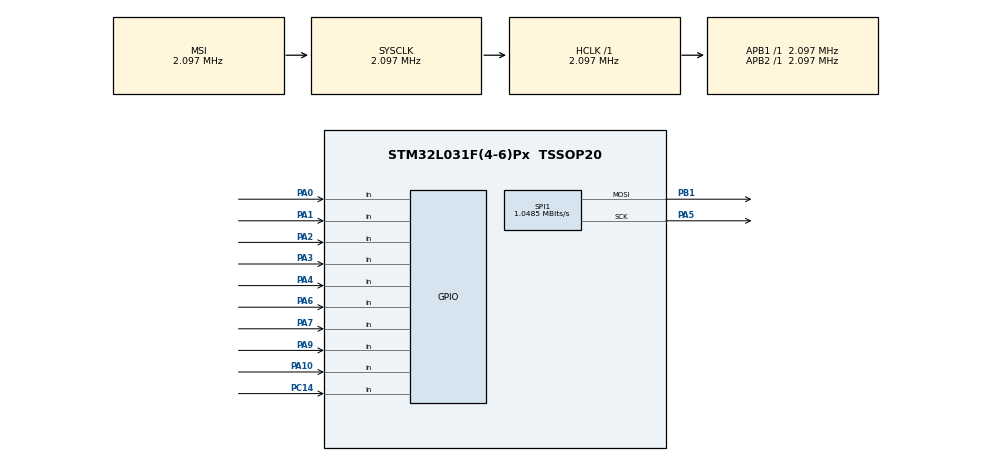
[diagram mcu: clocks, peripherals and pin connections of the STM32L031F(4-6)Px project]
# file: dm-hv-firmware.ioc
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Mcu.Family=STM32L0
Mcu.Name=STM32L031F(4-6)Px
Mcu.Package=TSSOP20
PA0-CK_IN.Signal=GPIO_Input
PA1.Signal=GPIO_Input
PA10.Signal=GPIO_Input
PA13.Mode=Serial_Wire
PA13.Signal=SYS_SWDIO
PA14.Mode=Serial_Wire
PA14.Signal=SYS_SWCLK
PA2.Signal=GPIO_Input
PA3.Signal=GPIO_Input
PA4.Signal=GPIO_Input
PA5.Mode=TX_Only_Simplex_Unidirect_Master
PA5.Signal=SPI1_SCK
PA6.Signal=GPIO_Input
PA7.Signal=GPIO_Input
PA9.Signal=GPIO_Input
PB1.Mode=TX_Only_Simplex_Unidirect_Master
PB1.Signal=SPI1_MOSI
PC14-OSC32_IN.Signal=GPIO_Input
ProjectManager.HeapSize=0x200
ProjectManager.StackSize=0x400
ProjectManager.TargetToolchain=SW4STM32
RCC.AHBFreq_Value=2097000
RCC.APB1Freq_Value=2097000
RCC.APB1TimFreq_Value=2097000
RCC.APB2Freq_Value=2097000
RCC.APB2TimFreq_Value=2097000
RCC.HSE_VALUE=8000000
RCC.HSI16_VALUE=16000000
RCC.HSI_VALUE=16000000
RCC.LSE_VALUE=32768
RCC.MSI_VALUE=2097000
RCC.SYSCLKFreq_VALUE=2097000
RCC.VCOOutputFreq_Value=48000000
SPI1.CalculateBaudRate=1.0485 MBits/s
SPI1.Direction=SPI_DIRECTION_2LINES
SPI1.Mode=SPI_MODE_MASTER
SPI1.VirtualType=VM_MASTER
board=custom

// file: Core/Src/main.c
/* USER CODE BEGIN Header */
/**
  ******************************************************************************
  * @file           : main.c
  * @brief          : Main program body
  ******************************************************************************
  * @attention
  *
  * Copyright (c) 2022 STMicroelectronics.
  * All rights reserved.
  *
  * This software is licensed under terms that can be found in the LICENSE file
  * in the root directory of this software component.
  * If no LICENSE file comes with this software, it is provided AS-IS.
  *
  ******************************************************************************
  */
/* USER CODE END Header */
#include "main.h"

/* USER CODE BEGIN Includes */
#include <malloc.h>
/* USER CODE END Includes */

SPI_HandleTypeDef hspi1;

void SystemClock_Config(void);
static void MX_GPIO_Init(void);
static void MX_SPI1_Init(void);

int main(void)
{

    /* MCU Configuration--------------------------------------------------------*/

    /* Reset of all peripherals, Initializes the Flash interface and the Systick. */
    HAL_Init();

    /* Configure the system clock */
    SystemClock_Config();

    /* Initialize all configured peripherals */
    MX_GPIO_Init();
    MX_SPI1_Init();

    /* Infinite loop */
    while (1)
    {
      /* USER CODE BEGIN 3 */
        HAL_Delay(100);

        Main_Update_MAX5481_Resistance();
    }
  /* USER CODE END 3 */
}

void SystemClock_Config(void)
{
  RCC_OscInitTypeDef RCC_OscInitStruct = {0};
  RCC_ClkInitTypeDef RCC_ClkInitStruct = {0};

  /** Configure the main internal regulator output voltage
  */
  __HAL_PWR_VOLTAGESCALING_CONFIG(PWR_REGULATOR_VOLTAGE_SCALE1);
  /** Initializes the RCC Oscillators according to the specified parameters
  * in the RCC_OscInitTypeDef structure.
  */
  RCC_OscInitStruct.OscillatorType = RCC_OSCILLATORTYPE_MSI;
  RCC_OscInitStruct.MSIState = RCC_MSI_ON;
  RCC_OscInitStruct.MSICalibrationValue = 0;
  RCC_OscInitStruct.MSIClockRange = RCC_MSIRANGE_5;
  RCC_OscInitStruct.PLL.PLLState = RCC_PLL_NONE;
  if (HAL_RCC_OscConfig(&RCC_OscInitStruct) != HAL_OK)
  {
    Error_Handler();
  }
  /** Initializes the CPU, AHB and APB buses clocks
  */
  RCC_ClkInitStruct.ClockType = RCC_CLOCKTYPE_HCLK|RCC_CLOCKTYPE_SYSCLK
                              |RCC_CLOCKTYPE_PCLK1|RCC_CLOCKTYPE_PCLK2;
  RCC_ClkInitStruct.SYSCLKSource = RCC_SYSCLKSOURCE_MSI;
  RCC_ClkInitStruct.AHBCLKDivider = RCC_SYSCLK_DIV1;
  RCC_ClkInitStruct.APB1CLKDivider = RCC_HCLK_DIV1;
  RCC_ClkInitStruct.APB2CLKDivider = RCC_HCLK_DIV1;

  if (HAL_RCC_ClockConfig(&RCC_ClkInitStruct, FLASH_LATENCY_0) != HAL_OK)
  {
    Error_Handler();
  }
}

static void MX_SPI1_Init(void)
{

  /* SPI1 parameter configuration*/
  hspi1.Instance = SPI1;
  hspi1.Init.Mode = SPI_MODE_MASTER;
  hspi1.Init.Direction = SPI_DIRECTION_2LINES;
  hspi1.Init.DataSize = SPI_DATASIZE_8BIT;
  hspi1.Init.CLKPolarity = SPI_POLARITY_LOW;
  hspi1.Init.CLKPhase = SPI_PHASE_1EDGE;
  hspi1.Init.NSS = SPI_NSS_SOFT;
  hspi1.Init.BaudRatePrescaler = SPI_BAUDRATEPRESCALER_2;
  hspi1.Init.FirstBit = SPI_FIRSTBIT_MSB;
  hspi1.Init.TIMode = SPI_TIMODE_DISABLE;
  hspi1.Init.CRCCalculation = SPI_CRCCALCULATION_DISABLE;
  hspi1.Init.CRCPolynomial = 7;
  if (HAL_SPI_Init(&hspi1) != HAL_OK)
  {
    Error_Handler();
  }

}

static void MX_GPIO_Init(void)
{
  GPIO_InitTypeDef GPIO_InitStruct = {0};

  /* GPIO Ports Clock Enable */
  __HAL_RCC_GPIOC_CLK_ENABLE();
  __HAL_RCC_GPIOA_CLK_ENABLE();
  __HAL_RCC_GPIOB_CLK_ENABLE();

  /*Configure GPIO pin : PC14 */
  GPIO_InitStruct.Pin = GPIO_PIN_14;
  GPIO_InitStruct.Mode = GPIO_MODE_INPUT;
  GPIO_InitStruct.Pull = GPIO_NOPULL;
  HAL_GPIO_Init(GPIOC, &GPIO_InitStruct);

  /*Configure GPIO pins : PA0 PA1 PA2 PA3
                           PA4 PA6 PA7 PA9
                           PA10 */
  GPIO_InitStruct.Pin = GPIO_PIN_0|GPIO_PIN_1|GPIO_PIN_2|GPIO_PIN_3
                          |GPIO_PIN_4|GPIO_PIN_6|GPIO_PIN_7|GPIO_PIN_9
                          |GPIO_PIN_10;
  GPIO_InitStruct.Mode = GPIO_MODE_INPUT;
  GPIO_InitStruct.Pull = GPIO_NOPULL;
  HAL_GPIO_Init(GPIOA, &GPIO_InitStruct);

}

/* USER CODE BEGIN 4 */

unsigned char Main_MAX5481_Command_Write = 0;

void Main_Update_MAX5481_Resistance(void) {
    unsigned char payload_part1 = Main_Get_Resistance_Payload_Part1();
    unsigned char payload_part2 = Main_Get_Resistance_Payload_Part2();

    HAL_SPI_Transmit(&hspi1, &Main_MAX5481_Command_Write, 1, 10000);
    HAL_SPI_Transmit(&hspi1, &payload_part1, 1, 10000);
    HAL_SPI_Transmit(&hspi1, &payload_part2, 1, 10000);
}

char Main_Read_GPIO_As_Binary(GPIO_TypeDef *GPIOx, uint16_t GPIO_Pin) {
    return HAL_GPIO_ReadPin(GPIOx, GPIO_Pin) == GPIO_PIN_SET ? 1 : 0;
}

#if DM_HV_TRANSLATE_MODE == OFF

unsigned char Main_Get_Resistance_Payload_Part1(void) {
    unsigned char resistance = 0;

    resistance += Main_Read_GPIO_As_Binary(GPIOA, GPIO_PIN_0) << 1;
    resistance += Main_Read_GPIO_As_Binary(GPIOA, GPIO_PIN_1) << 2;
    resistance += Main_Read_GPIO_As_Binary(GPIOA, GPIO_PIN_2) << 3;
    resistance += Main_Read_GPIO_As_Binary(GPIOA, GPIO_PIN_3) << 4;
    resistance += Main_Read_GPIO_As_Binary(GPIOA, GPIO_PIN_4) << 5;
    resistance += Main_Read_GPIO_As_Binary(GPIOA, GPIO_PIN_6) << 6;
    resistance += Main_Read_GPIO_As_Binary(GPIOA, GPIO_PIN_7) << 7;
    resistance += Main_Read_GPIO_As_Binary(GPIOA, GPIO_PIN_8) << 8;

    return resistance;
}

unsigned char Main_Get_Resistance_Payload_Part2(void) {
    unsigned char resistance = 0;

    resistance += Main_Read_GPIO_As_Binary(GPIOA, GPIO_PIN_9) << 0;
    resistance += Main_Read_GPIO_As_Binary(GPIOA, GPIO_PIN_10) << 1;
    resistance += Main_Read_GPIO_As_Binary(GPIOC, GPIO_PIN_14) << 2;
    resistance += 0;
    resistance += 0;
    resistance += 0;
    resistance += 0;
    resistance += 0;

    return resistance;
}

#elif

unsigned char Main_Get_Resistance_Payload_Full(void) {
    unsigned char vol = 0;

    vol += Main_Read_GPIO_As_Binary(GPIOA, GPIO_PIN_0) << 1;
    vol += Main_Read_GPIO_As_Binary(GPIOA, GPIO_PIN_1) << 2;
    vol += Main_Read_GPIO_As_Binary(GPIOA, GPIO_PIN_2) << 3;
    vol += Main_Read_GPIO_As_Binary(GPIOA, GPIO_PIN_3) << 4;
    vol += Main_Read_GPIO_As_Binary(GPIOA, GPIO_PIN_4) << 5;
    vol += Main_Read_GPIO_As_Binary(GPIOA, GPIO_PIN_6) << 6;
    vol += Main_Read_GPIO_As_Binary(GPIOA, GPIO_PIN_7) << 7;
    vol += Main_Read_GPIO_As_Binary(GPIOA, GPIO_PIN_8) << 8;

    vol += Main_Read_GPIO_As_Binary(GPIOA, GPIO_PIN_9) << 9;
    vol += Main_Read_GPIO_As_Binary(GPIOA, GPIO_PIN_10) << 10;
    vol += Main_Read_GPIO_As_Binary(GPIOC, GPIO_PIN_14) << 11;
    vol += 0;
    vol += 0;
    vol += 0;
    vol += 0;
    vol += 0;

    return HV_Get_Resistance(vol);
}

unsigned char Main_Get_Resistance_Payload_Part1(void) {
    return Main_Get_Resistance_Payload_Full();
}

unsigned char Main_Get_Resistance_Payload_Part2(void) {
    return Main_Get_Resistance_Payload_Full() >> 8;
}

float HV_Get_Resistance(float voltage) {
    float r = -(68000 * (40 * voltage - 7101)) / (40 * voltage - 51);
    return ((r - 70.22f) * 1023) / 10000;
}

#endif

/* USER CODE END 4 */

void Error_Handler(void)
{
  __disable_irq();
  while (1)
  {
  }
}
